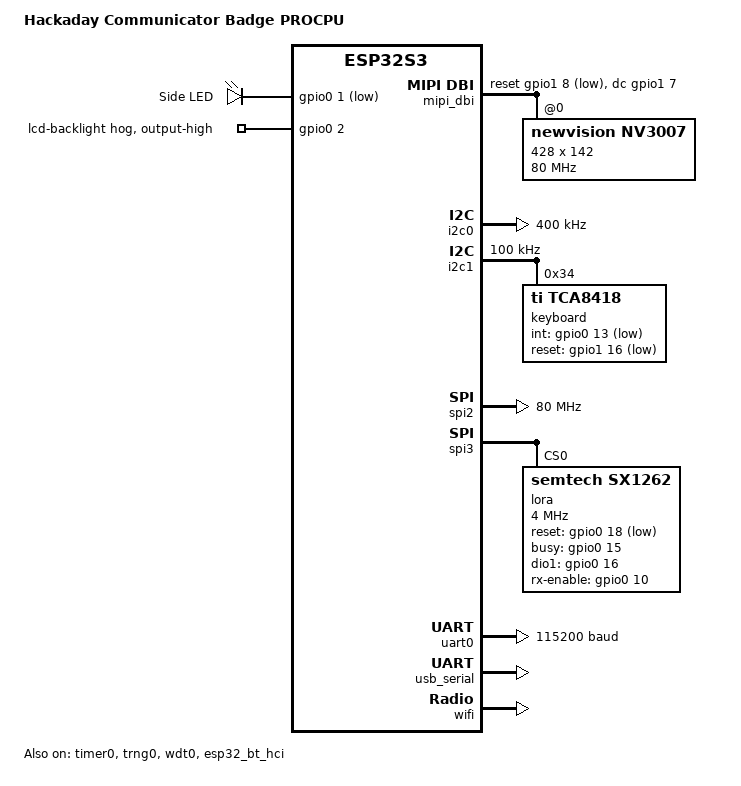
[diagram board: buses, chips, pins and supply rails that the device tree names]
/*
 * SPDX-FileCopyrightText: Copyright The Zephyr Project Contributors
 * SPDX-License-Identifier: Apache-2.0
 */

/dts-v1/;

#include <espressif/esp32s3/esp32s3.dtsi>
#include "communicator_badge-pinctrl.dtsi"
#include <espressif/partitions_0x0_amp_16M.dtsi>
#include <zephyr/dt-bindings/input/input-event-codes.h>
#include <zephyr/dt-bindings/input/keymap.h>
#include <zephyr/dt-bindings/lora/sx126x.h>
#include <zephyr/dt-bindings/lvgl/lvgl.h>
#include <zephyr/dt-bindings/mipi_dbi/mipi_dbi.h>

/ {
	model = "Hackaday Communicator Badge PROCPU";
	compatible = "espressif,esp32s3";

	aliases {
		i2c-0 = &i2c0;
		led0 = &led0;
		lora0 = &lora;
		uart-0 = &uart0;
		watchdog0 = &wdt0;
	};

	chosen {
		zephyr,sram = &sram1;
		zephyr,console = &usb_serial;
		zephyr,shell-uart = &usb_serial;
		zephyr,flash = &flash0;
		zephyr,code-partition = &slot0_partition;
		zephyr,bt-hci = &esp32_bt_hci;
		zephyr,display = &nv3007;
	};

	leds {
		compatible = "gpio-leds";

		led0: led_0 {
			gpios = <&gpio0 1 GPIO_ACTIVE_LOW>;
			label = "Side LED";
		};
	};

	lvgl_keypad: lvgl-keypad {
		compatible = "zephyr,lvgl-keypad-input";
		input = <&keymap>;
		input-codes = <INPUT_KEY_UP INPUT_KEY_DOWN INPUT_KEY_LEFT INPUT_KEY_RIGHT
			       INPUT_KEY_ENTER INPUT_KEY_ESC INPUT_KEY_BACKSPACE INPUT_KEY_TAB>;
		lvgl-codes = <LV_KEY_UP LV_KEY_DOWN LV_KEY_LEFT LV_KEY_RIGHT
			      LV_KEY_ENTER LV_KEY_ESC LV_KEY_BACKSPACE LV_KEY_NEXT>;
	};

	mipi_dbi {
		compatible = "zephyr,mipi-dbi-spi";
		spi-dev = <&spi2>;
		dc-gpios = <&gpio1 7 GPIO_ACTIVE_HIGH>;		/* GPIO39 */
		reset-gpios = <&gpio1 8 GPIO_ACTIVE_LOW>;	/* GPIO40 */
		write-only;
		#address-cells = <1>;
		#size-cells = <0>;

		/* 2.79 inch 142x428 panel, used in landscape */
		nv3007: lcd@0 {
			compatible = "newvision,nv3007";
			reg = <0>;
			mipi-max-frequency = <DT_FREQ_M(80)>;
			mipi-mode = "MIPI_DBI_MODE_SPI_4WIRE";
			width = <428>;
			height = <142>;
			madctl = <0xa0>;
			y-offset = <12>;
		};
	};
};

&flash0 {
	reg = <0x0 DT_SIZE_M(16)>;
	ranges = <0x0 0x0 DT_SIZE_M(16)>;
};

&psram0 {
	size = <DT_SIZE_M(8)>;
};

&dma {
	status = "okay";
};

&gpio0 {
	status = "okay";

	/* Backlight transistor; the pin can be handed to ledc0 for dimming */
	lcd_backlight {
		gpio-hog;
		gpios = <2 GPIO_ACTIVE_HIGH>;
		output-high;
		line-name = "lcd-backlight";
	};
};

&gpio1 {
	status = "okay";
};

/* SAO header */
&i2c0 {
	status = "okay";
	clock-frequency = <I2C_BITRATE_FAST>;
	pinctrl-0 = <&i2c0_default>;
	pinctrl-names = "default";
};

&i2c1 {
	status = "okay";
	clock-frequency = <I2C_BITRATE_STANDARD>;
	pinctrl-0 = <&i2c1_default>;
	pinctrl-names = "default";

	keyboard: keyboard@34 {
		compatible = "ti,tca8418";
		reg = <0x34>;
		int-gpios = <&gpio0 13 GPIO_ACTIVE_LOW>;
		reset-gpios = <&gpio1 16 GPIO_ACTIVE_LOW>;	/* GPIO48 */
		row-size = <8>;
		col-size = <10>;

		keymap: keymap {
			compatible = "input-keymap";
			keymap = <
				MATRIX_KEY(0, 1, INPUT_KEY_F1)
				MATRIX_KEY(0, 2, INPUT_KEY_KPPLUS)
				MATRIX_KEY(0, 3, INPUT_KEY_9)
				MATRIX_KEY(0, 4, INPUT_KEY_8)
				MATRIX_KEY(0, 5, INPUT_KEY_7)
				MATRIX_KEY(0, 6, INPUT_KEY_F2)
				MATRIX_KEY(0, 7, INPUT_KEY_F3)
				MATRIX_KEY(0, 8, INPUT_KEY_F4)
				MATRIX_KEY(0, 9, INPUT_KEY_F5)
				MATRIX_KEY(1, 0, INPUT_KEY_ESC)
				MATRIX_KEY(1, 1, INPUT_KEY_Q)
				MATRIX_KEY(1, 2, INPUT_KEY_W)
				MATRIX_KEY(1, 3, INPUT_KEY_E)
				MATRIX_KEY(1, 4, INPUT_KEY_R)
				MATRIX_KEY(1, 5, INPUT_KEY_T)
				MATRIX_KEY(1, 6, INPUT_KEY_Y)
				MATRIX_KEY(1, 7, INPUT_KEY_U)
				MATRIX_KEY(1, 8, INPUT_KEY_I)
				MATRIX_KEY(1, 9, INPUT_KEY_O)
				MATRIX_KEY(2, 0, INPUT_KEY_TAB)
				MATRIX_KEY(2, 1, INPUT_KEY_A)
				MATRIX_KEY(2, 2, INPUT_KEY_S)
				MATRIX_KEY(2, 3, INPUT_KEY_D)
				MATRIX_KEY(2, 4, INPUT_KEY_F)
				MATRIX_KEY(2, 5, INPUT_KEY_G)
				MATRIX_KEY(2, 6, INPUT_KEY_H)
				MATRIX_KEY(2, 7, INPUT_KEY_J)
				MATRIX_KEY(2, 8, INPUT_KEY_K)
				MATRIX_KEY(2, 9, INPUT_KEY_L)
				MATRIX_KEY(3, 0, INPUT_KEY_LEFTSHIFT)
				MATRIX_KEY(3, 1, INPUT_KEY_Z)
				MATRIX_KEY(3, 2, INPUT_KEY_X)
				MATRIX_KEY(3, 3, INPUT_KEY_C)
				MATRIX_KEY(3, 4, INPUT_KEY_V)
				MATRIX_KEY(3, 5, INPUT_KEY_B)
				MATRIX_KEY(3, 6, INPUT_KEY_N)
				MATRIX_KEY(3, 7, INPUT_KEY_M)
				MATRIX_KEY(3, 8, INPUT_KEY_COMMA)
				MATRIX_KEY(3, 9, INPUT_KEY_DOT)
				MATRIX_KEY(4, 0, INPUT_KEY_LEFTCTRL)
				/* Jolly Wrencher (Hackaday logo) */
				MATRIX_KEY(4, 1, INPUT_KEY_LEFTMETA)
				MATRIX_KEY(4, 2, INPUT_KEY_LEFTALT)
				MATRIX_KEY(4, 3, INPUT_KEY_BACKSLASH)
				MATRIX_KEY(4, 4, INPUT_KEY_SPACE)
				MATRIX_KEY(4, 6, INPUT_KEY_RIGHT)
				MATRIX_KEY(4, 7, INPUT_KEY_DOWN)
				MATRIX_KEY(4, 8, INPUT_KEY_LEFT)
				MATRIX_KEY(4, 9, INPUT_KEY_RIGHTALT)
				MATRIX_KEY(5, 2, INPUT_KEY_MINUS)
				MATRIX_KEY(5, 3, INPUT_KEY_6)
				MATRIX_KEY(5, 4, INPUT_KEY_5)
				MATRIX_KEY(5, 5, INPUT_KEY_4)
				MATRIX_KEY(5, 6, INPUT_KEY_RIGHTBRACE)
				MATRIX_KEY(5, 7, INPUT_KEY_LEFTBRACE)
				MATRIX_KEY(5, 8, INPUT_KEY_P)
				MATRIX_KEY(6, 2, INPUT_KEY_KPASTERISK)
				MATRIX_KEY(6, 3, INPUT_KEY_3)
				MATRIX_KEY(6, 4, INPUT_KEY_2)
				MATRIX_KEY(6, 5, INPUT_KEY_1)
				MATRIX_KEY(6, 6, INPUT_KEY_ENTER)
				MATRIX_KEY(6, 7, INPUT_KEY_APOSTROPHE)
				MATRIX_KEY(6, 8, INPUT_KEY_SEMICOLON)
				MATRIX_KEY(7, 2, INPUT_KEY_SLASH)
				MATRIX_KEY(7, 3, INPUT_KEY_EQUAL)
				/* "." on the number block, "," with shift */
				MATRIX_KEY(7, 4, INPUT_KEY_KPDOT)
				MATRIX_KEY(7, 5, INPUT_KEY_0)
				MATRIX_KEY(7, 6, INPUT_KEY_RIGHTSHIFT)
				MATRIX_KEY(7, 7, INPUT_KEY_UP)
				MATRIX_KEY(7, 8, INPUT_KEY_BACKSPACE)
			>;
			row-size = <8>;
			col-size = <10>;
		};
	};
};

&spi2 {
	#address-cells = <1>;
	#size-cells = <0>;
	status = "okay";
	pinctrl-0 = <&spim2_default>;
	pinctrl-names = "default";
	clock-frequency = <DT_FREQ_M(80)>;
	dma-enabled;
	dmas = <&dma 0>, <&dma 1>;
	dma-names = "rx", "tx";
};

/* Seeed Wio-SX1262 module, behind a pi attenuator unless JP1 is bridged */
&spi3 {
	#address-cells = <1>;
	#size-cells = <0>;
	status = "okay";
	pinctrl-0 = <&spim3_default>;
	pinctrl-names = "default";

	lora: lora@0 {
		compatible = "semtech,sx1262";
		reg = <0>;
		spi-max-frequency = <DT_FREQ_M(4)>;
		reset-gpios = <&gpio0 18 GPIO_ACTIVE_LOW>;
		busy-gpios = <&gpio0 15 GPIO_ACTIVE_HIGH>;
		dio1-gpios = <&gpio0 16 GPIO_ACTIVE_HIGH>;
		/* RF switch: GPIO10 selects the receive path, DIO2 the transmit path */
		rx-enable-gpios = <&gpio0 10 GPIO_ACTIVE_HIGH>;
		dio2-tx-enable;
		dio3-tcxo-voltage = <SX126X_DIO3_TCXO_1V7>;
		tcxo-power-startup-delay-ms = <5>;
	};
};

/* Serial expansion header J7, not fitted */
&uart0 {
	status = "okay";
	current-speed = <115200>;
	pinctrl-0 = <&uart0_default>;
	pinctrl-names = "default";
};

&usb_serial {
	status = "okay";
};

&timer0 {
	status = "okay";
};

&trng0 {
	status = "okay";
};

&wdt0 {
	status = "okay";
};

&esp32_bt_hci {
	status = "okay";
};

&wifi {
	status = "okay";
};
